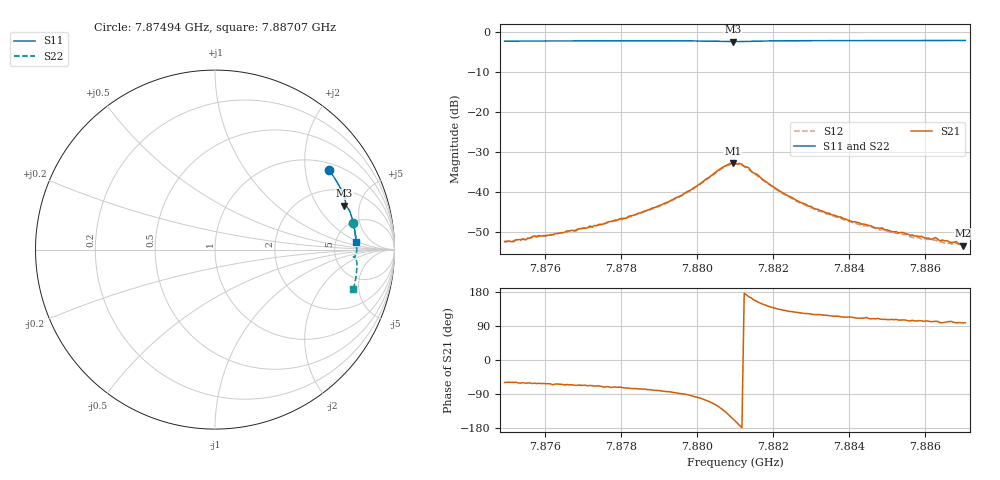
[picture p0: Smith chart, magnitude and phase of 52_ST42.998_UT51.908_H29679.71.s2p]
#  HZ  S  DB  R  50.00
! Rohde & Schwarz Vector Network Analyzer
! Rohde-Schwarz,ZNB20-2Port,1311601062101988,3.16
! Created: UTC 1/12/2023, 6:33:00 PM
! freq[Hz]  db:S11  ang:S11  db:S21  ang:S21  db:S12  ang:S12  db:S22  ang:S22
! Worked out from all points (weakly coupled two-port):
!   201 points, 7.87494 GHz to 7.88707 GHz, reference 50 ohm
!   highest |S21| = -32.86 dB at 7.88094 GHz (marker M1); lowest = -53.5 dB at 7.88701 GHz (marker M2)
!   lowest |S11| = -2.4 dB at 7.88094 GHz (marker M3), VSWR 7.38, Z = 153 + j178 ohm
!   |S11| at or under -10 dB: nowhere
!   |S22| runs from -2.2 to -1.9 dB; largest |S21 - S12| = 0.0015
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7.87494e9  -2.23 34.7  -52.46 -59.4  -52.67 -62.5  -2.14 10.7
7.875364e9  -2.22 33.5  -51.99 -60.8  -52.23 -63.6  -2.13 9.7
7.87591e9  -2.21 32.1  -51.10 -62.3  -50.68 -65.3  -2.11 8.4
7.876032e9  -2.21 31.7  -50.97 -62.6  -51.12 -66.8  -2.10 8.1
7.87682e9  -2.19 29.6  -49.61 -67.0  -49.90 -70.2  -2.09 6.3
7.877002e9  -2.19 29.1  -49.18 -66.9  -49.09 -71.2  -2.08 5.8
7.878033e9  -2.18 26.2  -46.69 -72.9  -47.02 -76.4  -2.05 3.4
7.879004e9  -2.17 23.5  -43.47 -80.4  -43.75 -84.7  -2.05 1.1
7.87961e9  -2.18 21.8  -40.83 -89.0  -40.95 -92.9  -2.05 -0.4
7.880641e9  -2.31 18.9  -34.10 -128.1  -34.32 -131.7  -2.18 -2.9
7.880945e9  -2.37 18.7  -32.86 -154.8  -33.07 -157.8  -2.24 -3.0
7.881005e9  -2.37 18.7  -32.92 -160.4  -33.04 -163.8  -2.24 -3.0
7.881369e9  -2.30 18.5  -34.03 166.8  -34.46 164.2  -2.17 -3.0
7.88143e9  -2.28 18.3  -34.86 164.0  -34.83 159.9  -2.15 -3.1
7.882158e9  -2.17 16.3  -39.68 133.9  -39.83 130.9  -2.02 -4.7
7.883067e9  -2.12 13.8  -44.10 119.9  -44.22 117.4  -1.98 -6.9
7.884098e9  -2.10 11.0  -47.54 112.7  -47.73 109.4  -1.96 -9.3
7.885069e9  -2.09 8.4  -49.75 106.3  -50.05 102.9  -1.93 -11.5
7.886585e9  -2.08 4.4  -52.27 100.5  -53.06 97.3  -1.92 -14.7
7.886828e9  -2.08 3.8  -52.47 98.0  -52.85 94.9  -1.92 -15.2
7.88701e9  -2.08 3.3  -53.49 97.8  -53.30 95.7  -1.92 -15.6
7.887071e9  -2.07 3.2  -53.44 98.2  -53.64 94.7  -1.92 -15.7
